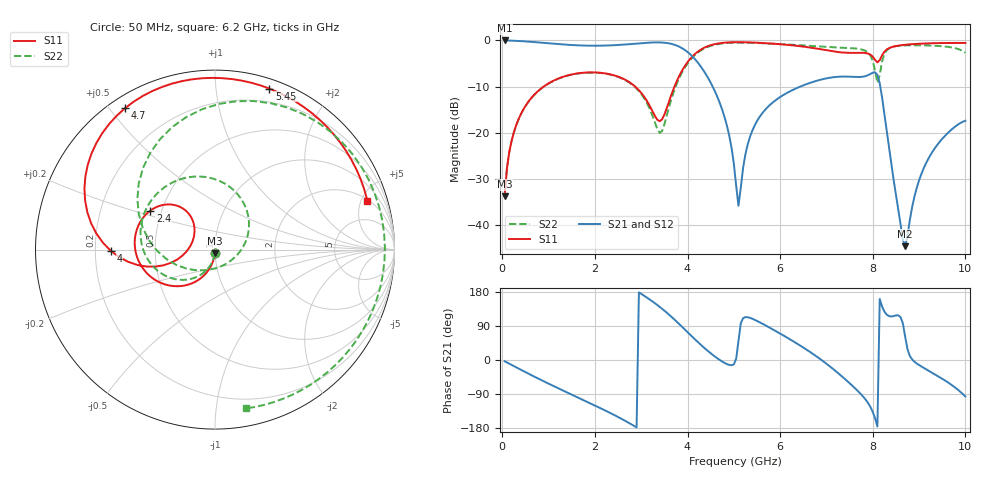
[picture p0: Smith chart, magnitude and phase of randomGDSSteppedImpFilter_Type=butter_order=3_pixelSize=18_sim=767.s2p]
! freq	dB(S11)	phase(S11)	dB(S12)	phase(S12)
!  dB(S21)	phase(S21)	dB(S22)	phase(S22)
!S-par simulation data
#  GHz  S  DB  R 50
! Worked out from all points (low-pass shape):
!   200 points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, 50 MHz to 10 GHz, reference 50 ohm
!   highest |S21| = -0.01 dB at 50 MHz (marker M1); lowest = -44.6 dB at 8.7 GHz (marker M2)
!   |S21| within 3 dB of the highest: start of sweep to 4.057 GHz
!   lowest |S11| = -33.8 dB at 50 MHz (marker M3), VSWR 1.04, Z = 49.9 - j2.04 ohm
!   |S11| at or under -10 dB: start of sweep to 894.3 MHz; 2.868 GHz to 3.719 GHz (850.3 MHz wide, 25.8 % of centre)
!   |S22| runs from -33.7 to -0.5 dB; largest |S21 - S12| = 0
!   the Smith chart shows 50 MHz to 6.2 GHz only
!   S11 on the Smith chart (normalised r, x): 50 MHz: 1.00, -0.04; 2.4 GHz: 0.43, +0.23; 4 GHz: 0.26, -0.00; 4.7 GHz: 0.04, +0.55; 5.45 GHz: 0.08, +1.39; 6.2 GHz: 2.11, +5.61
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0.05  -33.77 -92.6  -0.01 -3.3  -0.01 -3.3  -33.72 -93.5
0.2  -21.79 -101.9  -0.05 -13.0  -0.05 -13.0  -21.80 -104.6
0.5  -14.22 -119.0  -0.21 -32.0  -0.21 -32.0  -14.24 -125.9
1.75  -7.00 177.9  -1.11 -105.7  -1.11 -105.7  -7.03 149.8
2.4  -7.53 148.8  -1.04 -144.1  -1.04 -144.1  -7.58 102.8
3.4  -17.51 160.1  -0.43 140.1  -0.43 140.1  -20.04 -59.0
4  -4.71 -179.4  -2.51 73.6  -2.51 73.6  -5.01 139.1
4.35  -1.63 150.7  -6.59 33.2  -6.59 33.2  -1.81 88.4
4.7  -0.60 122.5  -13.65 -0.3  -13.65 -0.3  -0.73 45.8
5.05  -0.38 97.7  -31.47 3.2  -31.47 3.2  -0.48 10.1
5.1  -0.38 94.4  -35.83 51.0  -35.83 51.0  -0.48 5.4
5.45  -0.47 71.3  -18.42 106.1  -18.42 106.1  -0.54 -24.7
6.2  -1.00 17.8  -11.10 55.5  -11.10 55.5  -0.90 -78.9
6.7  -1.62 -29.3  -9.02 16.7  -9.02 16.7  -1.22 -110.0
7.2  -2.45 -95.5  -7.92 -29.4  -7.92 -29.4  -1.53 -138.8
7.6  -2.69 -162.0  -7.91 -72.6  -7.91 -72.6  -1.72 -163.2
8.1  -4.76 129.3  -7.49 -175.7  -7.49 -175.7  -9.20 173.8
8.35  -1.68 109.7  -23.12 115.9  -23.12 115.9  -1.74 178.8
8.7  -0.94 73.6  -44.59 61.1  -44.59 61.1  -1.07 145.7
9  -0.72 50.5  -30.31 -13.4  -30.31 -13.4  -1.05 121.2
9.45  -0.57 22.6  -21.91 -45.6  -21.91 -45.6  -1.22 81.0
10  -0.55 -4.6  -17.42 -96.3  -17.42 -96.3  -2.66 5.0
